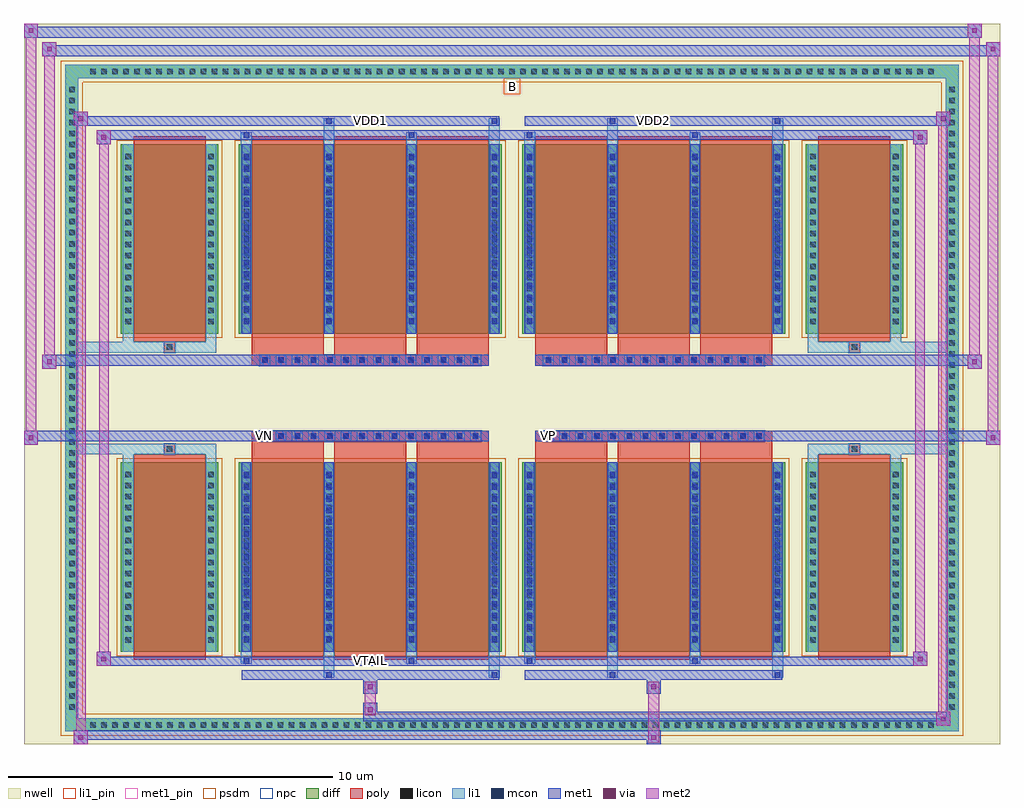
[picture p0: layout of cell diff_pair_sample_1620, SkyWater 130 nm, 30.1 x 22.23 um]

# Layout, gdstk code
import gdstk
lib = gdstk.Library(unit=1e-6, precision=5e-09)
def R(c, l, rs):  # rectangles x0, y0, x1, y1
    for r in rs: c.add(gdstk.rectangle(r[:2], r[2:], *l))
def A(c, l, x, y, w, h, nx, ny, dx, dy):  # array of equal rectangles
    R(c, l, [(x+i*dx, y+j*dy, x+i*dx+w, y+j*dy+h) for i in range(nx) for j in range(ny)])
def P(c, l, *ps):  # polygons
    for p in ps: c.add(gdstk.Polygon(p, *l))
nwell = (64, 20)
diff = (65, 20)
poly = (66, 20)
licon = (66, 44)
li1_pin = (67, 16)
li1 = (67, 20)
mcon = (67, 44)
met1_pin = (68, 16)
met1 = (68, 20)
via = (68, 44)
met2 = (69, 20)
psdm = (94, 20)
npc = (95, 20)

diff_pair_sample_1620 = lib.new_cell('diff_pair_sample_1620')
R(diff_pair_sample_1620, nwell, [(-15.05,-10.68,15.05,11.55), (-12.37,-8.87,-0.01,-0.805), (0.01,-8.87,12.37,-0.805), (-12.37,0.805,-0.01,8.87), (0.01,0.805,12.37,8.87)])
A(diff_pair_sample_1620, diff, -13.125, -10.28, 0.41, 0.41, 77, 2, 0.34, 20.15)
A(diff_pair_sample_1620, diff, -13.78, -9.725, 0.41, 0.41, 1, 57, 0, 0.34)
A(diff_pair_sample_1620, diff, 13.37, -9.725, 0.41, 0.41, 1, 57, 0, 0.34)
R(diff_pair_sample_1620, diff, [(-13.125,-10.28,13.125,-9.87), (-13.78,-9.725,-13.37,9.725), (13.37,-9.725,13.78,9.725), (-12.06,-7.825,-9.06,-1.985), (-8.42,-7.825,-0.32,-1.985), (0.32,-7.825,8.42,-1.985), (9.06,-7.825,12.06,-1.985), (-12.06,1.985,-9.06,7.825), (-8.42,1.985,-0.32,7.825), (0.32,1.985,8.42,7.825), (9.06,1.985,12.06,7.825), (-13.125,9.87,13.125,10.28)])
P(diff_pair_sample_1620, diff, [(13.78,10.28),(-13.78,10.28),(-13.78,-9.87),(-13.37,-9.87),(-13.37,9.87),(13.37,9.87),(13.37,-9.87),(-13.37,-9.87),(-13.78,-9.87),(-13.78,-10.28),(13.78,-10.28)])
A(diff_pair_sample_1620, poly, -8.03, -8.075, 2.22, 6.34, 3, 2, 2.55, 9.81)
A(diff_pair_sample_1620, poly, 0.71, -8.075, 2.22, 6.34, 3, 2, 2.55, 9.81)
A(diff_pair_sample_1620, poly, -8.03, -1.735, 2.22, 0.4, 3, 2, 2.55, 3.07)
A(diff_pair_sample_1620, poly, 0.71, -1.735, 2.22, 0.4, 3, 2, 2.55, 3.07)
A(diff_pair_sample_1620, poly, -7.785, -1.335, 0.33, 0.33, 14, 2, 0.5, 2.34)
A(diff_pair_sample_1620, poly, 0.955, -1.335, 0.33, 0.33, 14, 2, 0.5, 2.34)
R(diff_pair_sample_1620, poly, [(-11.67,-8.075,-9.45,-1.735), (9.45,-8.075,11.67,-1.735), (-10.725,-1.735,-10.395,-1.405), (-10.725,-1.735,-10.395,-1.405), (10.395,-1.735,10.725,-1.405), (10.395,-1.735,10.725,-1.405), (-8.03,-1.335,-0.71,-1.005), (0.71,-1.335,8.03,-1.005), (-8.03,1.005,-0.71,1.335), (0.71,1.005,8.03,1.335), (-10.725,1.405,-10.395,1.735), (-10.725,1.405,-10.395,1.735), (10.395,1.405,10.725,1.735), (10.395,1.405,10.725,1.735), (-11.67,1.735,-9.45,8.075), (9.45,1.735,11.67,8.075)])
A(diff_pair_sample_1620, licon, -13.005, -10.16, 0.17, 0.17, 77, 2, 0.34, 20.15)
A(diff_pair_sample_1620, licon, -13.66, -9.605, 0.17, 0.17, 1, 57, 0, 0.34)
A(diff_pair_sample_1620, licon, 13.49, -9.605, 0.17, 0.17, 1, 57, 0, 0.34)
A(diff_pair_sample_1620, licon, -11.92, -7.54, 0.17, 0.17, 1, 16, 0, 0.34)
A(diff_pair_sample_1620, licon, -9.37, -7.54, 0.17, 0.17, 1, 16, 0, 0.34)
A(diff_pair_sample_1620, licon, -8.28, -7.54, 0.17, 0.17, 4, 16, 2.55, 0.34)
A(diff_pair_sample_1620, licon, 0.46, -7.54, 0.17, 0.17, 4, 16, 2.55, 0.34)
A(diff_pair_sample_1620, licon, 9.2, -7.54, 0.17, 0.17, 1, 16, 0, 0.34)
A(diff_pair_sample_1620, licon, 11.75, -7.54, 0.17, 0.17, 1, 16, 0, 0.34)
A(diff_pair_sample_1620, licon, -7.705, -1.255, 0.17, 0.17, 14, 2, 0.5, 2.34)
A(diff_pair_sample_1620, licon, 1.035, -1.255, 0.17, 0.17, 14, 2, 0.5, 2.34)
A(diff_pair_sample_1620, licon, -11.92, 2.27, 0.17, 0.17, 1, 16, 0, 0.34)
A(diff_pair_sample_1620, licon, -9.37, 2.27, 0.17, 0.17, 1, 16, 0, 0.34)
A(diff_pair_sample_1620, licon, -8.28, 2.27, 0.17, 0.17, 4, 16, 2.55, 0.34)
A(diff_pair_sample_1620, licon, 0.46, 2.27, 0.17, 0.17, 4, 16, 2.55, 0.34)
A(diff_pair_sample_1620, licon, 9.2, 2.27, 0.17, 0.17, 1, 16, 0, 0.34)
A(diff_pair_sample_1620, licon, 11.75, 2.27, 0.17, 0.17, 1, 16, 0, 0.34)
R(diff_pair_sample_1620, licon, [(-10.645,-1.655,-10.475,-1.485), (10.475,-1.655,10.645,-1.485), (-10.645,1.485,-10.475,1.655), (10.475,1.485,10.645,1.655)])
R(diff_pair_sample_1620, li1_pin, [(-0.25,9.37,0.25,9.87)])
A(diff_pair_sample_1620, li1, -13.085, -10.24, 0.33, 0.33, 77, 2, 0.34, 20.15)
A(diff_pair_sample_1620, li1, -13.74, -9.685, 0.33, 0.33, 1, 57, 0, 0.34)
A(diff_pair_sample_1620, li1, 13.41, -9.685, 0.33, 0.33, 1, 57, 0, 0.34)
A(diff_pair_sample_1620, li1, -8.36, -7.825, 0.33, 5.84, 4, 2, 2.55, 9.81)
A(diff_pair_sample_1620, li1, 0.38, -7.825, 0.33, 5.84, 4, 2, 2.55, 9.81)
A(diff_pair_sample_1620, li1, -12, -7.62, 0.33, 0.33, 1, 16, 0, 0.34)
A(diff_pair_sample_1620, li1, -9.45, -7.62, 0.33, 0.33, 1, 16, 0, 0.34)
A(diff_pair_sample_1620, li1, -8.36, -7.62, 0.33, 0.33, 4, 16, 2.55, 0.34)
A(diff_pair_sample_1620, li1, 0.38, -7.62, 0.33, 0.33, 4, 16, 2.55, 0.34)
A(diff_pair_sample_1620, li1, 9.12, -7.62, 0.33, 0.33, 1, 16, 0, 0.34)
A(diff_pair_sample_1620, li1, 11.67, -7.62, 0.33, 0.33, 1, 16, 0, 0.34)
A(diff_pair_sample_1620, li1, -8.28, -7.51, 0.17, 0.17, 4, 15, 2.55, 0.36)
A(diff_pair_sample_1620, li1, -8.28, -7.51, 0.17, 5.21, 4, 2, 2.55, 9.81)
A(diff_pair_sample_1620, li1, 0.46, -7.51, 0.17, 0.17, 4, 15, 2.55, 0.36)
A(diff_pair_sample_1620, li1, 0.46, -7.51, 0.17, 5.21, 4, 2, 2.55, 9.81)
A(diff_pair_sample_1620, li1, -7.785, -1.335, 0.33, 0.33, 14, 2, 0.5, 2.34)
A(diff_pair_sample_1620, li1, 0.955, -1.335, 0.33, 0.33, 14, 2, 0.5, 2.34)
A(diff_pair_sample_1620, li1, -12, 2.19, 0.33, 0.33, 1, 16, 0, 0.34)
A(diff_pair_sample_1620, li1, -9.45, 2.19, 0.33, 0.33, 1, 16, 0, 0.34)
A(diff_pair_sample_1620, li1, -8.36, 2.19, 0.33, 0.33, 4, 16, 2.55, 0.34)
A(diff_pair_sample_1620, li1, 0.38, 2.19, 0.33, 0.33, 4, 16, 2.55, 0.34)
A(diff_pair_sample_1620, li1, 9.12, 2.19, 0.33, 0.33, 1, 16, 0, 0.34)
A(diff_pair_sample_1620, li1, 11.67, 2.19, 0.33, 0.33, 1, 16, 0, 0.34)
A(diff_pair_sample_1620, li1, -8.28, 2.3, 0.17, 0.17, 4, 15, 2.55, 0.36)
A(diff_pair_sample_1620, li1, 0.46, 2.3, 0.17, 0.17, 4, 15, 2.55, 0.36)
R(diff_pair_sample_1620, li1, [(-13.78,-10.28,-13.37,-9.87), (-13.78,-10.28,-13.37,-9.87), (-13.37,-10.28,13.37,-9.87), (13.37,-10.28,13.78,-9.87), (13.37,-10.28,13.78,-9.87), (-13.78,-9.87,-13.37,9.87), (13.37,-9.87,13.78,9.87), (-5.81,-8.63,-5.48,-7.825), (-5.73,-8.63,-5.56,-8.46), (-0.71,-8.63,-0.38,-7.825), (-0.63,-8.63,-0.46,-8.46), (2.93,-8.63,3.26,-7.825), (3.01,-8.63,3.18,-8.46), (8.03,-8.63,8.36,-7.825), (8.11,-8.63,8.28,-8.46), (-8.36,-8.2,-8.03,-7.825), (-8.28,-8.2,-8.11,-8.03), (-3.26,-8.2,-2.93,-7.825), (-3.18,-8.2,-3.01,-8.03), (0.38,-8.2,0.71,-7.825), (0.46,-8.2,0.63,-8.03), (5.48,-8.2,5.81,-7.825), (5.56,-8.2,5.73,-8.03), (-12,-7.825,-11.67,-1.985), (-9.45,-7.825,-9.12,-1.985), (9.12,-7.825,9.45,-1.985), (11.67,-7.825,12,-1.985), (-12,-1.985,-11.67,-1.405), (-9.45,-1.985,-9.12,-1.405), (9.12,-1.985,9.45,-1.405), (11.67,-1.985,12,-1.405), (-13.78,-1.735,-10.725,-1.405), (-12,-1.735,-10.725,-1.405), (-10.725,-1.735,-10.395,-1.405), (-10.395,-1.735,-9.12,-1.405), (9.12,-1.735,10.395,-1.405), (10.395,-1.735,10.725,-1.405), (10.395,-1.735,13.78,-1.405), (10.725,-1.735,12,-1.405), (-13.78,1.405,-10.725,1.735), (-12,1.405,-10.725,1.735), (-12,1.405,-11.67,1.985), (-10.725,1.405,-10.395,1.735), (-10.395,1.405,-9.12,1.735), (-9.45,1.405,-9.12,1.985), (9.12,1.405,10.395,1.735), (9.12,1.405,9.45,1.985), (10.395,1.405,10.725,1.735), (10.395,1.405,13.78,1.735), (10.725,1.405,12,1.735), (11.67,1.405,12,1.985), (-12,1.985,-11.67,7.825), (-9.45,1.985,-9.12,7.825), (9.12,1.985,9.45,7.825), (11.67,1.985,12,7.825), (-8.36,7.825,-8.03,8.2), (-5.81,7.825,-5.48,8.63), (-3.26,7.825,-2.93,8.2), (-0.71,7.825,-0.38,8.63), (0.38,7.825,0.71,8.2), (2.93,7.825,3.26,8.63), (5.48,7.825,5.81,8.2), (8.03,7.825,8.36,8.63), (-8.28,8.03,-8.11,8.2), (-3.18,8.03,-3.01,8.2), (0.46,8.03,0.63,8.2), (5.56,8.03,5.73,8.2), (-5.73,8.46,-5.56,8.63), (-0.63,8.46,-0.46,8.63), (3.01,8.46,3.18,8.63), (8.11,8.46,8.28,8.63), (-13.78,9.87,-13.37,10.28), (-13.78,9.87,-13.37,10.28), (-13.37,9.87,13.37,10.28), (13.37,9.87,13.78,10.28), (13.37,9.87,13.78,10.28)])
A(diff_pair_sample_1620, mcon, -8.28, -7.51, 0.17, 0.17, 4, 15, 2.55, 0.36)
A(diff_pair_sample_1620, mcon, 0.46, -7.51, 0.17, 0.17, 4, 15, 2.55, 0.36)
A(diff_pair_sample_1620, mcon, -7.705, -1.255, 0.17, 0.17, 14, 2, 0.5, 2.34)
A(diff_pair_sample_1620, mcon, 1.035, -1.255, 0.17, 0.17, 14, 2, 0.5, 2.34)
A(diff_pair_sample_1620, mcon, -8.28, 2.3, 0.17, 0.17, 4, 15, 2.55, 0.36)
A(diff_pair_sample_1620, mcon, 0.46, 2.3, 0.17, 0.17, 4, 15, 2.55, 0.36)
R(diff_pair_sample_1620, mcon, [(-5.73,-8.63,-5.56,-8.46), (-0.63,-8.63,-0.46,-8.46), (3.01,-8.63,3.18,-8.46), (8.11,-8.63,8.28,-8.46), (-8.28,-8.2,-8.11,-8.03), (-3.18,-8.2,-3.01,-8.03), (0.46,-8.2,0.63,-8.03), (5.56,-8.2,5.73,-8.03), (-8.28,8.03,-8.11,8.2), (-3.18,8.03,-3.01,8.2), (0.46,8.03,0.63,8.2), (5.56,8.03,5.73,8.2), (-5.73,8.46,-5.56,8.63), (-0.63,8.46,-0.46,8.63), (3.01,8.46,3.18,8.63), (8.11,8.46,8.28,8.63)])
R(diff_pair_sample_1620, met1_pin, [(-4.505,-8.24,-4.235,-7.97), (-7.755,-1.295,-7.485,-1.025), (0.985,-1.295,1.255,-1.025), (-4.505,8.42,-4.235,8.69), (4.235,8.42,4.505,8.69)])
A(diff_pair_sample_1620, met1, -8.34, -7.825, 0.29, 5.84, 4, 2, 2.55, 9.81)
A(diff_pair_sample_1620, met1, 0.4, -7.825, 0.29, 5.84, 4, 2, 2.55, 9.81)
A(diff_pair_sample_1620, met1, -8.34, -7.57, 0.29, 0.29, 4, 15, 2.55, 0.36)
A(diff_pair_sample_1620, met1, 0.4, -7.57, 0.29, 0.29, 4, 15, 2.55, 0.36)
A(diff_pair_sample_1620, met1, -7.765, -1.315, 0.29, 0.29, 14, 2, 0.5, 2.34)
A(diff_pair_sample_1620, met1, 0.975, -1.315, 0.29, 0.29, 14, 2, 0.5, 2.34)
A(diff_pair_sample_1620, met1, -8.34, 2.24, 0.29, 0.29, 4, 15, 2.55, 0.36)
A(diff_pair_sample_1620, met1, 0.4, 2.24, 0.29, 0.29, 4, 15, 2.55, 0.36)
R(diff_pair_sample_1620, met1, [(-13.51,-10.68,-13.08,-10.25), (4.155,-10.68,4.585,-10.25), (-13.51,-10.54,4.585,-10.25), (13.08,-10.11,13.51,-9.68), (-4.585,-9.97,13.51,-9.68), (-4.585,-9.83,-4.155,-9.4), (-4.585,-9.12,-4.155,-8.69), (4.155,-9.12,4.585,-8.69), (-8.34,-8.69,-0.4,-8.4), (-5.79,-8.69,-5.5,-8.4), (-0.69,-8.69,-0.4,-8.4), (0.4,-8.69,8.34,-8.4), (2.95,-8.69,3.24,-8.4), (8.05,-8.69,8.34,-8.4), (-12.8,-8.26,-12.37,-7.83), (-12.8,-8.26,-8.34,-7.97), (-8.34,-8.26,-8.05,-7.97), (-8.34,-8.26,-0.4,-7.97), (-3.24,-8.26,-2.95,-7.97), (-0.4,-8.26,0.4,-7.97), (0.4,-8.26,0.69,-7.97), (0.4,-8.26,8.34,-7.97), (5.5,-8.26,5.79,-7.97), (8.34,-8.26,12.8,-7.97), (12.37,-8.26,12.8,-7.83), (-15.05,-1.435,-14.62,-1.005), (14.62,-1.435,15.05,-1.005), (-15.05,-1.335,-0.71,-1.005), (-8.03,-1.335,-0.71,-1.005), (0.71,-1.335,8.03,-1.005), (0.71,-1.335,15.05,-1.005), (-14.48,0.905,-14.05,1.335), (14.05,0.905,14.48,1.335), (-14.48,1.005,-8.03,1.335), (-8.03,1.005,-0.71,1.335), (0.71,1.005,8.03,1.335), (8.03,1.005,14.48,1.335), (-12.8,7.83,-12.37,8.26), (12.37,7.83,12.8,8.26), (-12.8,7.97,-8.34,8.26), (-8.34,7.97,-8.05,8.26), (-8.34,7.97,-0.4,8.26), (-3.24,7.97,-2.95,8.26), (-0.4,7.97,0.4,8.26), (0.4,7.97,0.69,8.26), (0.4,7.97,8.34,8.26), (5.5,7.97,5.79,8.26), (8.34,7.97,12.8,8.26), (-13.51,8.4,-13.08,8.83), (-13.51,8.4,-8.34,8.69), (-8.34,8.4,-0.4,8.69), (-5.79,8.4,-5.5,8.69), (-0.69,8.4,-0.4,8.69), (0.4,8.4,8.34,8.69), (2.95,8.4,3.24,8.69), (8.05,8.4,8.34,8.69), (8.34,8.4,13.51,8.69), (13.08,8.4,13.51,8.83), (-14.48,10.55,-14.05,10.98), (-14.48,10.55,-12.37,10.88), (-12.37,10.55,12.37,10.88), (12.37,10.55,15.05,10.88), (14.62,10.55,15.05,10.98), (-15.05,11.12,-14.62,11.55), (-15.05,11.12,-12.37,11.45), (-12.37,11.12,12.37,11.45), (12.37,11.12,14.48,11.45), (14.05,11.12,14.48,11.55)])
R(diff_pair_sample_1620, via, [(-13.37,-10.54,-13.22,-10.39), (4.295,-10.54,4.445,-10.39), (13.22,-9.97,13.37,-9.82), (-4.445,-9.69,-4.295,-9.54), (-4.445,-8.98,-4.295,-8.83), (4.295,-8.98,4.445,-8.83), (-12.66,-8.12,-12.51,-7.97), (12.51,-8.12,12.66,-7.97), (-14.91,-1.295,-14.76,-1.145), (14.76,-1.295,14.91,-1.145), (-14.34,1.045,-14.19,1.195), (14.19,1.045,14.34,1.195), (-12.66,7.97,-12.51,8.12), (12.51,7.97,12.66,8.12), (-13.37,8.54,-13.22,8.69), (13.22,8.54,13.37,8.69), (-14.34,10.69,-14.19,10.84), (14.76,10.69,14.91,10.84), (-14.91,11.26,-14.76,11.41), (14.19,11.26,14.34,11.41)])
R(diff_pair_sample_1620, met2, [(-13.51,-10.68,-13.08,-10.25), (-13.44,-10.68,-13.15,8.83), (-13.15,-10.68,-13.08,-10.25), (-13.46,-10.63,-13.13,-10.3), (4.205,-10.63,4.535,-10.3), (4.205,-10.3,4.535,-9.07), (13.08,-10.11,13.51,-9.68), (13.15,-10.11,13.44,8.83), (13.44,-10.11,13.51,-9.68), (13.13,-10.06,13.46,-9.73), (-4.535,-9.78,-4.205,-9.45), (-4.535,-9.45,-4.205,-9.07), (-4.535,-9.07,-4.205,-8.74), (4.205,-9.07,4.535,-8.74), (-12.8,-8.26,-12.37,-7.83), (-12.73,-8.26,-12.44,8.26), (-12.44,-8.26,-12.37,-7.83), (12.37,-8.26,12.8,-7.83), (12.44,-8.26,12.73,8.26), (12.73,-8.26,12.8,-7.83), (-12.75,-8.21,-12.42,-7.88), (12.42,-8.21,12.75,-7.88), (-15.05,-1.435,-14.62,-1.005), (-15,-1.435,-14.67,11.55), (-14.67,-1.435,-14.62,-1.005), (14.62,-1.435,15.05,-1.005), (14.67,-1.435,15,10.98), (15,-1.435,15.05,-1.005), (-15,-1.385,-14.67,-1.055), (14.67,-1.385,15,-1.055), (-14.48,0.905,-14.05,1.335), (-14.43,0.905,-14.1,10.98), (-14.1,0.905,-14.05,1.335), (14.05,0.905,14.48,1.335), (14.1,0.905,14.43,11.55), (14.43,0.905,14.48,1.335), (-14.43,0.955,-14.1,1.285), (14.1,0.955,14.43,1.285), (-12.8,7.83,-12.37,8.26), (-12.44,7.83,-12.37,8.26), (12.37,7.83,12.8,8.26), (12.73,7.83,12.8,8.26), (-12.75,7.88,-12.42,8.21), (12.42,7.88,12.75,8.21), (-13.51,8.4,-13.08,8.83), (-13.15,8.4,-13.08,8.83), (13.08,8.4,13.51,8.83), (13.44,8.4,13.51,8.83), (-13.46,8.45,-13.13,8.78), (13.13,8.45,13.46,8.78), (-14.48,10.55,-14.05,10.98), (-14.1,10.55,-14.05,10.98), (14.62,10.55,15.05,10.98), (15,10.55,15.05,10.98), (-14.43,10.6,-14.1,10.93), (14.67,10.6,15,10.93), (-15.05,11.12,-14.62,11.55), (-14.67,11.12,-14.62,11.55), (14.05,11.12,14.48,11.55), (14.43,11.12,14.48,11.55), (-15,11.17,-14.67,11.5), (14.1,11.17,14.43,11.5)])
R(diff_pair_sample_1620, psdm, [(-12.19,-7.955,-8.93,-1.855), (-8.55,-7.955,-0.19,-1.855), (0.19,-7.955,8.55,-1.855), (8.93,-7.955,12.19,-1.855), (-12.19,1.855,-8.93,7.955), (-8.55,1.855,-0.19,7.955), (0.19,1.855,8.55,7.955), (8.93,1.855,12.19,7.955)])
P(diff_pair_sample_1620, psdm, [(13.91,10.41),(-13.91,10.41),(-13.91,-9.74),(-13.24,-9.74),(-13.24,9.74),(13.24,9.74),(13.24,-9.74),(-13.24,-9.74),(-13.91,-9.74),(-13.91,-10.41),(13.91,-10.41)])
A(diff_pair_sample_1620, npc, -7.805, -1.355, 0.37, 0.37, 14, 2, 0.5, 2.34)
A(diff_pair_sample_1620, npc, 0.935, -1.355, 0.37, 0.37, 14, 2, 0.5, 2.34)
R(diff_pair_sample_1620, npc, [(-10.745,-1.755,-10.375,-1.385), (10.375,-1.755,10.745,-1.385), (-7.805,-1.355,-6.935,-0.985), (-7.805,-1.355,-6.935,-0.985), (-7.305,-1.355,-6.435,-0.985), (-7.305,-1.355,-6.435,-0.985), (-6.805,-1.355,-5.935,-0.985), (-6.805,-1.355,-5.935,-0.985), (-6.305,-1.355,-5.435,-0.985), (-6.305,-1.355,-5.435,-0.985), (-5.805,-1.355,-4.935,-0.985), (-5.805,-1.355,-4.935,-0.985), (-5.305,-1.355,-4.435,-0.985), (-5.305,-1.355,-4.435,-0.985), (-4.805,-1.355,-3.935,-0.985), (-4.805,-1.355,-3.935,-0.985), (-4.305,-1.355,-3.435,-0.985), (-4.305,-1.355,-3.435,-0.985), (-3.805,-1.355,-2.935,-0.985), (-3.805,-1.355,-2.935,-0.985), (-3.305,-1.355,-2.435,-0.985), (-3.305,-1.355,-2.435,-0.985), (-2.805,-1.355,-1.935,-0.985), (-2.805,-1.355,-1.935,-0.985), (-2.305,-1.355,-1.435,-0.985), (-2.305,-1.355,-1.435,-0.985), (-1.805,-1.355,-0.935,-0.985), (-1.805,-1.355,-0.935,-0.985), (0.935,-1.355,1.805,-0.985), (0.935,-1.355,1.805,-0.985), (1.435,-1.355,2.305,-0.985), (1.435,-1.355,2.305,-0.985), (1.935,-1.355,2.805,-0.985), (1.935,-1.355,2.805,-0.985), (2.435,-1.355,3.305,-0.985), (2.435,-1.355,3.305,-0.985), (2.935,-1.355,3.805,-0.985), (2.935,-1.355,3.805,-0.985), (3.435,-1.355,4.305,-0.985), (3.435,-1.355,4.305,-0.985), (3.935,-1.355,4.805,-0.985), (3.935,-1.355,4.805,-0.985), (4.435,-1.355,5.305,-0.985), (4.435,-1.355,5.305,-0.985), (4.935,-1.355,5.805,-0.985), (4.935,-1.355,5.805,-0.985), (5.435,-1.355,6.305,-0.985), (5.435,-1.355,6.305,-0.985), (5.935,-1.355,6.805,-0.985), (5.935,-1.355,6.805,-0.985), (6.435,-1.355,7.305,-0.985), (6.435,-1.355,7.305,-0.985), (6.935,-1.355,7.805,-0.985), (6.935,-1.355,7.805,-0.985), (-7.805,0.985,-6.935,1.355), (-7.805,0.985,-6.935,1.355), (-7.305,0.985,-6.435,1.355), (-7.305,0.985,-6.435,1.355), (-6.805,0.985,-5.935,1.355), (-6.805,0.985,-5.935,1.355), (-6.305,0.985,-5.435,1.355), (-6.305,0.985,-5.435,1.355), (-5.805,0.985,-4.935,1.355), (-5.805,0.985,-4.935,1.355), (-5.305,0.985,-4.435,1.355), (-5.305,0.985,-4.435,1.355), (-4.805,0.985,-3.935,1.355), (-4.805,0.985,-3.935,1.355), (-4.305,0.985,-3.435,1.355), (-4.305,0.985,-3.435,1.355), (-3.805,0.985,-2.935,1.355), (-3.805,0.985,-2.935,1.355), (-3.305,0.985,-2.435,1.355), (-3.305,0.985,-2.435,1.355), (-2.805,0.985,-1.935,1.355), (-2.805,0.985,-1.935,1.355), (-2.305,0.985,-1.435,1.355), (-2.305,0.985,-1.435,1.355), (-1.805,0.985,-0.935,1.355), (-1.805,0.985,-0.935,1.355), (0.935,0.985,1.805,1.355), (0.935,0.985,1.805,1.355), (1.435,0.985,2.305,1.355), (1.435,0.985,2.305,1.355), (1.935,0.985,2.805,1.355), (1.935,0.985,2.805,1.355), (2.435,0.985,3.305,1.355), (2.435,0.985,3.305,1.355), (2.935,0.985,3.805,1.355), (2.935,0.985,3.805,1.355), (3.435,0.985,4.305,1.355), (3.435,0.985,4.305,1.355), (3.935,0.985,4.805,1.355), (3.935,0.985,4.805,1.355), (4.435,0.985,5.305,1.355), (4.435,0.985,5.305,1.355), (4.935,0.985,5.805,1.355), (4.935,0.985,5.805,1.355), (5.435,0.985,6.305,1.355), (5.435,0.985,6.305,1.355), (5.935,0.985,6.805,1.355), (5.935,0.985,6.805,1.355), (6.435,0.985,7.305,1.355), (6.435,0.985,7.305,1.355), (6.935,0.985,7.805,1.355), (6.935,0.985,7.805,1.355), (-10.745,1.385,-10.375,1.755), (10.375,1.385,10.745,1.755)])
diff_pair_sample_1620.add(gdstk.Label('VTAIL', (-4.37,-8.105), layer=68, texttype=5))
diff_pair_sample_1620.add(gdstk.Label('VN', (-7.62,-1.16), layer=68, texttype=5))
diff_pair_sample_1620.add(gdstk.Label('VP', (1.12,-1.16), layer=68, texttype=5))
diff_pair_sample_1620.add(gdstk.Label('B', (0,9.62), layer=67, texttype=5))
diff_pair_sample_1620.add(gdstk.Label('VDD2', (4.37,8.555), layer=68, texttype=5))
diff_pair_sample_1620.add(gdstk.Label('VDD1', (-4.37,8.555), layer=68, texttype=5))

lib.write_gds('diff_pair_sample_1620.gds')
